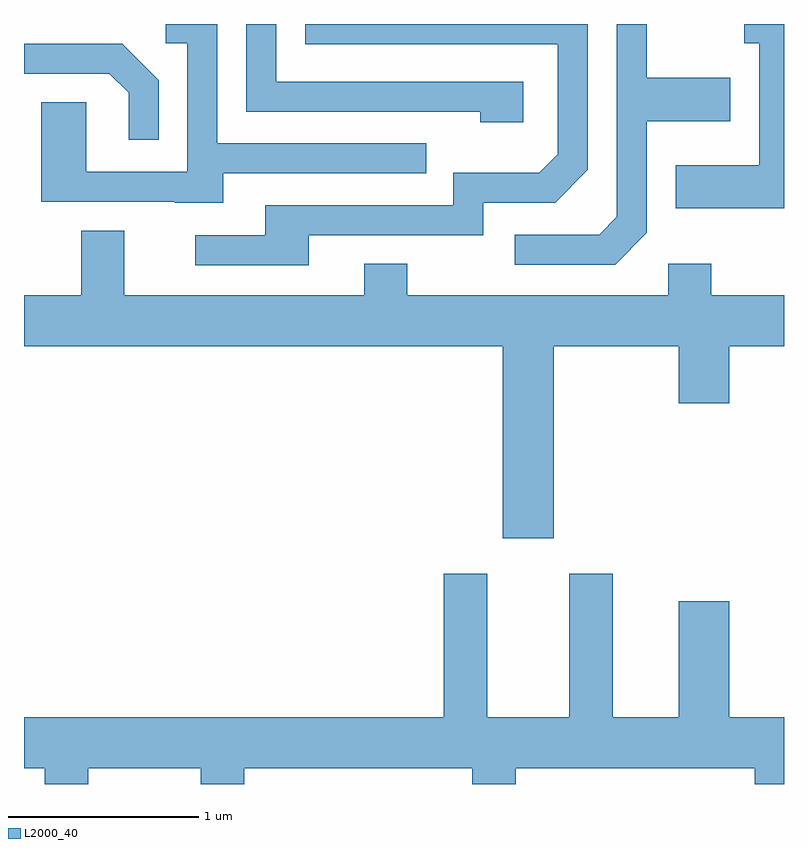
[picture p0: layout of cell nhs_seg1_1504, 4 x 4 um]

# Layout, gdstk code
import gdstk
lib = gdstk.Library(unit=1e-6, precision=1e-09)
def P(c, l, *ps):  # polygons
    for p in ps: c.add(gdstk.Polygon(p, *l))
L2000_40 = (2000, 40)

nhs_seg1_1504 = lib.new_cell('nhs_seg1_1504')
P(nhs_seg1_1504, L2000_40, [(234.889,904.614),(234.889,905.201),(235.329,905.201),(235.329,905.429),(234.889,905.429),(234.889,905.712),(234.731,905.712),(234.731,904.697),(234.639,904.604),(234.193,904.604),(234.193,904.446),(234.722,904.446)],
  [(233.109,904.601),(234.029,904.601),(234.029,904.771),(234.407,904.771),(234.579,904.944),(234.579,905.712),(233.091,905.712),(233.091,905.606),(234.421,905.606),(234.421,905.027),(234.324,904.929),(233.871,904.929),(233.871,904.759),(232.881,904.759),(232.881,904.599),(232.513,904.599),(232.513,904.441),(233.109,904.441)],
  [(234.239,905.409),(232.939,905.409),(232.939,905.712),(232.781,905.712),(232.781,905.251),(234.011,905.251),(234.011,905.196),(234.239,905.196)],
  [(232.659,904.926),(233.728,904.926),(233.728,905.084),(232.629,905.084),(232.629,905.712),(232.358,905.712),(232.358,905.611),(232.471,905.611),(232.471,904.934),(231.939,904.934),(231.939,905.299),(231.701,905.299),(231.701,904.776),(232.405,904.776),(232.405,904.771),(232.659,904.771)],
  [(235.611,905.712),(235.403,905.712),(235.403,905.611),(235.481,905.611),(235.481,904.969),(235.041,904.969),(235.041,904.741),(235.611,904.741)],
  [(232.319,905.417),(232.127,905.609),(231.611,905.609),(231.611,905.451),(232.059,905.451),(232.161,905.349),(232.161,905.103),(232.319,905.103)],
  [(234.399,904.016),(235.056,904.016),(235.056,903.716),(235.324,903.716),(235.324,904.016),(235.611,904.016),(235.611,904.284),(235.229,904.284),(235.229,904.449),(235.001,904.449),(235.001,904.284),(233.629,904.284),(233.629,904.449),(233.401,904.449),(233.401,904.284),(232.139,904.284),(232.139,904.624),(231.911,904.624),(231.911,904.284),(231.611,904.284),(231.611,904.016),(234.131,904.016),(234.131,903.006),(234.399,903.006)],
  [(231.949,901.796),(232.541,901.796),(232.541,901.712),(232.769,901.712),(232.769,901.796),(233.971,901.796),(233.971,901.712),(234.199,901.712),(234.199,901.796),(235.456,901.796),(235.456,901.712),(235.611,901.712),(235.611,902.064),(235.324,902.064),(235.324,902.674),(235.056,902.674),(235.056,902.064),(234.709,902.064),(234.709,902.819),(234.481,902.819),(234.481,902.064),(234.049,902.064),(234.049,902.819),(233.821,902.819),(233.821,902.064),(231.611,902.064),(231.611,901.796),(231.721,901.796),(231.721,901.712),(231.949,901.712)])

lib.write_gds('nhs_seg1_1504.gds')
